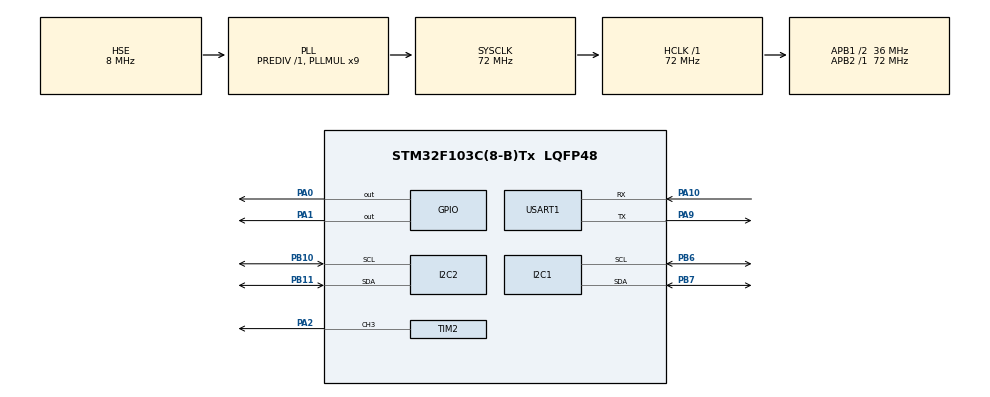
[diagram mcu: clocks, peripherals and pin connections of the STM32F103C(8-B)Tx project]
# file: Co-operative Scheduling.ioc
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FREERTOS.Mutexes01=uartMutex,Dynamic,NULL,Available
FREERTOS.Tasks01=task_sensor,8,128,StartSensorTask,Default,NULL,Dynamic,NULL,NULL;task_lcd,8,128,StartLCDTask,Default,NULL,Dynamic,NULL,NULL;task_uart,8,128,StartUARTTxTask,Default,NULL,Dynamic,NULL,NULL;RXTask,8,128,StartUARTRxTask,Default,NULL,Dynamic,NULL,NULL;MotorTask,8,128,StartMotorTask,Default,NULL,Dynamic,NULL,NULL
FREERTOS.configTOTAL_HEAP_SIZE=4096
FREERTOS.configUSE_PREEMPTION=0
I2C2.I2C_Mode=I2C_Fast
Mcu.Family=STM32F1
Mcu.Name=STM32F103C(8-B)Tx
Mcu.Package=LQFP48
NVIC.PriorityGroup=NVIC_PRIORITYGROUP_4
NVIC.USART1_IRQn=true\:5\:0\:false\:false\:true\:true\:true\:true\:true
PA0-WKUP.Signal=GPIO_Output
PA1.Signal=GPIO_Output
PA10.Mode=Asynchronous
PA10.Signal=USART1_RX
PA13.Mode=Serial_Wire
PA13.Signal=SYS_JTMS-SWDIO
PA14.Mode=Serial_Wire
PA14.Signal=SYS_JTCK-SWCLK
PA2.Signal=S_TIM2_CH3
PA9.Mode=Asynchronous
PA9.Signal=USART1_TX
PB10.Mode=I2C
PB10.Signal=I2C2_SCL
PB11.Mode=I2C
PB11.Signal=I2C2_SDA
PB6.Mode=I2C
PB6.Signal=I2C1_SCL
PB7.Mode=I2C
PB7.Signal=I2C1_SDA
PD0-OSC_IN.Mode=HSE-External-Oscillator
PD0-OSC_IN.Signal=RCC_OSC_IN
PD1-OSC_OUT.Mode=HSE-External-Oscillator
PD1-OSC_OUT.Signal=RCC_OSC_OUT
ProjectManager.HeapSize=0x200
ProjectManager.StackSize=0x400
ProjectManager.TargetToolchain=STM32CubeIDE
RCC.AHBFreq_Value=72000000
RCC.APB1CLKDivider=RCC_HCLK_DIV2
RCC.APB1Freq_Value=36000000
RCC.APB1TimFreq_Value=72000000
RCC.APB2Freq_Value=72000000
RCC.APB2TimFreq_Value=72000000
RCC.HCLKFreq_Value=72000000
RCC.PLLMUL=RCC_PLL_MUL9
RCC.PLLSourceVirtual=RCC_PLLSOURCE_HSE
RCC.SYSCLKFreq_VALUE=72000000
RCC.SYSCLKSource=RCC_SYSCLKSOURCE_PLLCLK
RCC.USBFreq_Value=72000000
SH.S_TIM2_CH3.0=TIM2_CH3,PWM Generation3 CH3
TIM2.Channel-PWM\ Generation3\ CH3=TIM_CHANNEL_3
TIM2.Period=100
TIM2.Prescaler=72-1
USART1.VirtualMode=VM_ASYNC
VP_FREERTOS_VS_CMSIS_V2.Mode=CMSIS_V2
board=custom

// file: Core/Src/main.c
/* USER CODE BEGIN Header */
/**
  ******************************************************************************
  * @file           : main.c
  * @brief          : Main program body
  ******************************************************************************
  * @attention
  *
  * Copyright (c) 2025 STMicroelectronics.
  * All rights reserved.
  *
  * This software is licensed under terms that can be found in the LICENSE file
  * in the root directory of this software component.
  * If no LICENSE file comes with this software, it is provided AS-IS.
  *
  ******************************************************************************
  */
/* USER CODE END Header */
#include "main.h"
#include "cmsis_os.h"

/* USER CODE BEGIN Includes */
#include "string.h"
#include "stdio.h"
#include "stdlib.h"
#include "i2c_lcd.h"
#include "aht10.h"
/* USER CODE END Includes */

I2C_HandleTypeDef hi2c1;
I2C_HandleTypeDef hi2c2;

TIM_HandleTypeDef htim2;

UART_HandleTypeDef huart1;

/* Definitions for task_sensor */
osThreadId_t task_sensorHandle;
const osThreadAttr_t task_sensor_attributes = {
  .name = "task_sensor",
  .stack_size = 128 * 4,
  .priority = (osPriority_t) osPriorityLow,
};
/* Definitions for task_lcd */
osThreadId_t task_lcdHandle;
const osThreadAttr_t task_lcd_attributes = {
  .name = "task_lcd",
  .stack_size = 128 * 4,
  .priority = (osPriority_t) osPriorityLow,
};
/* Definitions for task_uart */
osThreadId_t task_uartHandle;
const osThreadAttr_t task_uart_attributes = {
  .name = "task_uart",
  .stack_size = 128 * 4,
  .priority = (osPriority_t) osPriorityLow,
};
/* Definitions for RXTask */
osThreadId_t RXTaskHandle;
const osThreadAttr_t RXTask_attributes = {
  .name = "RXTask",
  .stack_size = 128 * 4,
  .priority = (osPriority_t) osPriorityLow,
};
/* Definitions for MotorTask */
osThreadId_t MotorTaskHandle;
const osThreadAttr_t MotorTask_attributes = {
  .name = "MotorTask",
  .stack_size = 128 * 4,
  .priority = (osPriority_t) osPriorityLow,
};
/* Definitions for uartMutex */
osMutexId_t uartMutexHandle;
const osMutexAttr_t uartMutex_attributes = {
  .name = "uartMutex"
};
/* USER CODE BEGIN PV */
AHT10_HandleTypeDef aht10;
I2C_LCD_HandleTypeDef lcd;

char debug[32];
char buffer[32];
float temperature, humidity;
uint32_t temp_raw = 0;
uint32_t hum_raw = 0;

//Biến dùng chung cho nhận UART
uint8_t rx_byte;
char command_buffer[64];
volatile uint8_t command_ready = 0;

//Biến toàn cục lưu trạng thái điều khiển
typedef enum { OFF = 0, ON = 1 } MotorPower;
typedef enum { CW = 0, CCW = 1 } MotorDirection;
typedef enum { DISPLAY_ALL, DISPLAY_TEMP, DISPLAY_HUMID } DisplayMode;

volatile MotorPower motor_power = OFF;
volatile MotorDirection motor_dir = CW;
volatile uint8_t motor_speed = 0;
volatile DisplayMode display_mode = DISPLAY_ALL;

/* USER CODE END PV */

void SystemClock_Config(void);
static void MX_GPIO_Init(void);
static void MX_I2C1_Init(void);
static void MX_I2C2_Init(void);
static void MX_TIM2_Init(void);
static void MX_USART1_UART_Init(void);
void StartSensorTask(void *argument);
void StartLCDTask(void *argument);
void StartUARTTxTask(void *argument);
void StartUARTRxTask(void *argument);
void StartMotorTask(void *argument);

int main(void)
{

  /* MCU Configuration--------------------------------------------------------*/

  /* Reset of all peripherals, Initializes the Flash interface and the Systick. */
  HAL_Init();

  /* Configure the system clock */
  SystemClock_Config();

  /* Initialize all configured peripherals */
  MX_GPIO_Init();
  MX_I2C1_Init();
  MX_I2C2_Init();
  MX_TIM2_Init();
  MX_USART1_UART_Init();
  /* USER CODE BEGIN 2 */

  	 //Khởi tạo uart nhận 1 byte
	HAL_UART_Receive_IT(&huart1, &rx_byte, 1);

	//Khởi tạo timmer2 CH3
	HAL_TIM_PWM_Start(&htim2, TIM_CHANNEL_3);

	//Init LCD
	lcd.hi2c = &hi2c1;
	lcd.address = 0x4E;
	lcd_init(&lcd);
	lcd_clear(&lcd);

	//Init AHT10
	aht10.hi2c = &hi2c2;
	aht10.address = 0x38 << 1; //AHT10 default address << 1 = 0x38 << 1 = 0x70
	AHT10_Init(&aht10);
	HAL_Delay(50);

  /* USER CODE END 2 */

  /* Init scheduler */
  osKernelInitialize();
  /* Create the mutex(es) */
  /* creation of uartMutex */
  uartMutexHandle = osMutexNew(&uartMutex_attributes);

  /* Create the thread(s) */
  /* creation of task_sensor */
  task_sensorHandle = osThreadNew(StartSensorTask, NULL, &task_sensor_attributes);

  /* creation of task_lcd */
  task_lcdHandle = osThreadNew(StartLCDTask, NULL, &task_lcd_attributes);

  /* creation of task_uart */
  task_uartHandle = osThreadNew(StartUARTTxTask, NULL, &task_uart_attributes);

  /* creation of RXTask */
  RXTaskHandle = osThreadNew(StartUARTRxTask, NULL, &RXTask_attributes);

  /* creation of MotorTask */
  MotorTaskHandle = osThreadNew(StartMotorTask, NULL, &MotorTask_attributes);

  /* Start scheduler */
  osKernelStart();

  /* We should never get here as control is now taken by the scheduler */

  /* Infinite loop */
  while (1)
  {

  }
}

void SystemClock_Config(void)
{
  RCC_OscInitTypeDef RCC_OscInitStruct = {0};
  RCC_ClkInitTypeDef RCC_ClkInitStruct = {0};

  /** Initializes the RCC Oscillators according to the specified parameters
  * in the RCC_OscInitTypeDef structure.
  */
  RCC_OscInitStruct.OscillatorType = RCC_OSCILLATORTYPE_HSE;
  RCC_OscInitStruct.HSEState = RCC_HSE_ON;
  RCC_OscInitStruct.HSEPredivValue = RCC_HSE_PREDIV_DIV1;
  RCC_OscInitStruct.HSIState = RCC_HSI_ON;
  RCC_OscInitStruct.PLL.PLLState = RCC_PLL_ON;
  RCC_OscInitStruct.PLL.PLLSource = RCC_PLLSOURCE_HSE;
  RCC_OscInitStruct.PLL.PLLMUL = RCC_PLL_MUL9;
  if (HAL_RCC_OscConfig(&RCC_OscInitStruct) != HAL_OK)
  {
    Error_Handler();
  }

  /** Initializes the CPU, AHB and APB buses clocks
  */
  RCC_ClkInitStruct.ClockType = RCC_CLOCKTYPE_HCLK|RCC_CLOCKTYPE_SYSCLK
                              |RCC_CLOCKTYPE_PCLK1|RCC_CLOCKTYPE_PCLK2;
  RCC_ClkInitStruct.SYSCLKSource = RCC_SYSCLKSOURCE_PLLCLK;
  RCC_ClkInitStruct.AHBCLKDivider = RCC_SYSCLK_DIV1;
  RCC_ClkInitStruct.APB1CLKDivider = RCC_HCLK_DIV2;
  RCC_ClkInitStruct.APB2CLKDivider = RCC_HCLK_DIV1;

  if (HAL_RCC_ClockConfig(&RCC_ClkInitStruct, FLASH_LATENCY_2) != HAL_OK)
  {
    Error_Handler();
  }
}

static void MX_I2C1_Init(void)
{

  hi2c1.Instance = I2C1;
  hi2c1.Init.ClockSpeed = 100000;
  hi2c1.Init.DutyCycle = I2C_DUTYCYCLE_2;
  hi2c1.Init.OwnAddress1 = 0;
  hi2c1.Init.AddressingMode = I2C_ADDRESSINGMODE_7BIT;
  hi2c1.Init.DualAddressMode = I2C_DUALADDRESS_DISABLE;
  hi2c1.Init.OwnAddress2 = 0;
  hi2c1.Init.GeneralCallMode = I2C_GENERALCALL_DISABLE;
  hi2c1.Init.NoStretchMode = I2C_NOSTRETCH_DISABLE;
  if (HAL_I2C_Init(&hi2c1) != HAL_OK)
  {
    Error_Handler();
  }

}

static void MX_I2C2_Init(void)
{

  hi2c2.Instance = I2C2;
  hi2c2.Init.ClockSpeed = 400000;
  hi2c2.Init.DutyCycle = I2C_DUTYCYCLE_2;
  hi2c2.Init.OwnAddress1 = 0;
  hi2c2.Init.AddressingMode = I2C_ADDRESSINGMODE_7BIT;
  hi2c2.Init.DualAddressMode = I2C_DUALADDRESS_DISABLE;
  hi2c2.Init.OwnAddress2 = 0;
  hi2c2.Init.GeneralCallMode = I2C_GENERALCALL_DISABLE;
  hi2c2.Init.NoStretchMode = I2C_NOSTRETCH_DISABLE;
  if (HAL_I2C_Init(&hi2c2) != HAL_OK)
  {
    Error_Handler();
  }

}

static void MX_TIM2_Init(void)
{

  TIM_MasterConfigTypeDef sMasterConfig = {0};
  TIM_OC_InitTypeDef sConfigOC = {0};

  htim2.Instance = TIM2;
  htim2.Init.Prescaler = 72-1;
  htim2.Init.CounterMode = TIM_COUNTERMODE_UP;
  htim2.Init.Period = 100;
  htim2.Init.ClockDivision = TIM_CLOCKDIVISION_DIV1;
  htim2.Init.AutoReloadPreload = TIM_AUTORELOAD_PRELOAD_DISABLE;
  if (HAL_TIM_PWM_Init(&htim2) != HAL_OK)
  {
    Error_Handler();
  }
  sMasterConfig.MasterOutputTrigger = TIM_TRGO_RESET;
  sMasterConfig.MasterSlaveMode = TIM_MASTERSLAVEMODE_DISABLE;
  if (HAL_TIMEx_MasterConfigSynchronization(&htim2, &sMasterConfig) != HAL_OK)
  {
    Error_Handler();
  }
  sConfigOC.OCMode = TIM_OCMODE_PWM1;
  sConfigOC.Pulse = 0;
  sConfigOC.OCPolarity = TIM_OCPOLARITY_HIGH;
  sConfigOC.OCFastMode = TIM_OCFAST_DISABLE;
  if (HAL_TIM_PWM_ConfigChannel(&htim2, &sConfigOC, TIM_CHANNEL_3) != HAL_OK)
  {
    Error_Handler();
  }
  HAL_TIM_MspPostInit(&htim2);

}

static void MX_USART1_UART_Init(void)
{

  huart1.Instance = USART1;
  huart1.Init.BaudRate = 115200;
  huart1.Init.WordLength = UART_WORDLENGTH_8B;
  huart1.Init.StopBits = UART_STOPBITS_1;
  huart1.Init.Parity = UART_PARITY_NONE;
  huart1.Init.Mode = UART_MODE_TX_RX;
  huart1.Init.HwFlowCtl = UART_HWCONTROL_NONE;
  huart1.Init.OverSampling = UART_OVERSAMPLING_16;
  if (HAL_UART_Init(&huart1) != HAL_OK)
  {
    Error_Handler();
  }

}

static void MX_GPIO_Init(void)
{
  GPIO_InitTypeDef GPIO_InitStruct = {0};

  /* GPIO Ports Clock Enable */
  __HAL_RCC_GPIOD_CLK_ENABLE();
  __HAL_RCC_GPIOA_CLK_ENABLE();
  __HAL_RCC_GPIOB_CLK_ENABLE();

  /*Configure GPIO pin Output Level */
  HAL_GPIO_WritePin(GPIOA, GPIO_PIN_0|GPIO_PIN_1, GPIO_PIN_RESET);

  /*Configure GPIO pins : PA0 PA1 */
  GPIO_InitStruct.Pin = GPIO_PIN_0|GPIO_PIN_1;
  GPIO_InitStruct.Mode = GPIO_MODE_OUTPUT_PP;
  GPIO_InitStruct.Pull = GPIO_NOPULL;
  GPIO_InitStruct.Speed = GPIO_SPEED_FREQ_LOW;
  HAL_GPIO_Init(GPIOA, &GPIO_InitStruct);

}

/* USER CODE BEGIN 4 */
void HAL_UART_RxCpltCallback(UART_HandleTypeDef *huart) {
	static uint8_t idx = 0;
	if (huart->Instance == USART1) {
		if (rx_byte != '\n' && idx < sizeof(command_buffer) - 1) {
			command_buffer[idx++] = rx_byte;
		} else {
			command_buffer[idx] = '\0'; // kết thúc chuỗi
			idx = 0;
			command_ready = 1;
		}

		// Bắt đầu nhận byte tiếp theo
		HAL_UART_Receive_IT(&huart1, &rx_byte, 1);
	}
}
/* USER CODE END 4 */

void StartSensorTask(void *argument)
{
  /* USER CODE BEGIN 5 */
	TickType_t LastWakeTime = osKernelGetTickCount();
	/* Infinite loop */
	for (;;) {
		if (AHT10_ReadRaw(&aht10, &hum_raw, &temp_raw)) {
			float temp = AHT10_ReadTemperature(temp_raw);
			float hum = AHT10_ReadHumidity(hum_raw);

			temperature = temp;
			humidity = hum;
		}
		osDelayUntil(LastWakeTime + pdMS_TO_TICKS(2000));
		LastWakeTime = osKernelGetTickCount();
		taskYIELD();
	}
  /* USER CODE END 5 */
}

void StartLCDTask(void *argument)
{
  /* USER CODE BEGIN StartLCDTask */
	char lcd_buf[32];
	TickType_t LastWakeTime = osKernelGetTickCount();
	/* Infinite loop */
	for (;;) {
			int ti = (int)temperature;
			int tf = (int)((temperature - ti) * 10);
			int hi = (int)humidity;
			int hf = (int)((humidity - hi) * 10);

			switch (display_mode) {
			case DISPLAY_ALL:
				sprintf(lcd_buf, "Temp: %d.%d C", ti, tf);
				lcd_gotoxy(&lcd, 0, 0);
				lcd_puts(&lcd, lcd_buf);

				sprintf(lcd_buf, "Hum:  %d.%d %%", hi, hf);
				lcd_gotoxy(&lcd, 0, 1);
				lcd_puts(&lcd, lcd_buf);
				break;

			case DISPLAY_TEMP:
				sprintf(lcd_buf, "Temp: %d.%d C", ti, tf);
				lcd_gotoxy(&lcd, 0, 0);
				lcd_puts(&lcd, lcd_buf);

				lcd_gotoxy(&lcd, 0, 1);
				lcd_puts(&lcd, "                "); // Clear dòng 2
				break;

			case DISPLAY_HUMID:
				sprintf(lcd_buf, "Hum:  %d.%d %%", hi, hf);
				lcd_gotoxy(&lcd, 0, 0);
				lcd_puts(&lcd, lcd_buf);

				lcd_gotoxy(&lcd, 0, 1);
				lcd_puts(&lcd, "                "); // Clear dòng 2
				break;
			}

		osDelayUntil(LastWakeTime + pdMS_TO_TICKS(500));
		LastWakeTime = osKernelGetTickCount();
		taskYIELD();
	}
  /* USER CODE END StartLCDTask */
}

void StartUARTTxTask(void *argument)
{
  /* USER CODE BEGIN StartUARTTxTask */
	char uart_buf[64];
	TickType_t LastWakeTime = osKernelGetTickCount();
	/* Infinite loop */
	for (;;) {
		float temp = temperature;
		float hum = humidity;

		int temp_int = (int) temp;
		int temp_frac = (int) ((temp - temp_int) * 10);
		int hum_int = (int) hum;
		int hum_frac = (int) ((hum - hum_int) * 10);

		sprintf(uart_buf, "temperature: %d.%d C, humidity: %d.%d %%\r\n",
				temp_int, temp_frac, hum_int, hum_frac);

		HAL_UART_Transmit(&huart1, (uint8_t*) uart_buf, strlen(uart_buf), 100);

		osDelayUntil(LastWakeTime + pdMS_TO_TICKS(5000));
		LastWakeTime = osKernelGetTickCount();
		taskYIELD();
	}
  /* USER CODE END StartUARTTxTask */
}

void StartUARTRxTask(void *argument)
{
  /* USER CODE BEGIN StartUARTRxTask */
//	TickType_t LastWakeTime = osKernelGetTickCount();
	/* Infinite loop */
	for (;;) {
		if (command_ready) {
			command_ready = 0;

			osMutexAcquire(uartMutexHandle, osWaitForever);

			// Hiển thị lệnh nhận được
			HAL_UART_Transmit(&huart1, (uint8_t*) "Cmd: ", 5, HAL_MAX_DELAY);
			HAL_UART_Transmit(&huart1, (uint8_t*) command_buffer,
					strlen(command_buffer), HAL_MAX_DELAY);
			HAL_UART_Transmit(&huart1, (uint8_t*) "\r\n", 2, HAL_MAX_DELAY);

			// Xử lý lệnh
			if (strncmp(command_buffer, "!motor ", 7) == 0) {
				if (strstr(command_buffer, "on"))
					motor_power = ON;
				else if (strstr(command_buffer, "off"))
					motor_power = OFF;

			} else if (strncmp(command_buffer, "!rotate ", 8) == 0) {
				if (strstr(command_buffer, "ccw"))
					motor_dir = CCW;
				else if (strstr(command_buffer, "cw"))
					motor_dir = CW;

			} else if (strncmp(command_buffer, "!speed ", 7) == 0) {
				int val = atoi(&command_buffer[7]);
				if (val >= 0 && val <= 100)
					motor_speed = val;

			} else if (strncmp(command_buffer, "!display ", 9) == 0) {
				if (strstr(command_buffer, "all"))
					display_mode = DISPLAY_ALL;
				else if (strstr(command_buffer, "temp"))
					display_mode = DISPLAY_TEMP;
				else if (strstr(command_buffer, "humid"))
					display_mode = DISPLAY_HUMID;
			}

			// Phản hồi trạng thái hiện tại
			char debug_msg[64];
			sprintf(debug_msg, "Motor: %s, Dir: %s, Speed: %d, Display: %s\r\n",
					(motor_power == ON) ? "ON" : "OFF",
					(motor_dir == CW) ? "CW" : "CCW", motor_speed,
					(display_mode == DISPLAY_ALL) ? "ALL" :
					(display_mode == DISPLAY_TEMP) ? "TEMP" : "HUMID");

			HAL_UART_Transmit(&huart1, (uint8_t*) debug_msg, strlen(debug_msg),
			HAL_MAX_DELAY);

			// Xóa buffer cũ
			memset(command_buffer, 0, sizeof(command_buffer));

			osMutexRelease(uartMutexHandle);
		}
//		osDelayUntil(LastWakeTime + pdMS_TO_TICKS(50));
//		LastWakeTime = osKernelGetTickCount();
		taskYIELD();
	}
  /* USER CODE END StartUARTRxTask */
}

void StartMotorTask(void *argument)
{
  /* USER CODE BEGIN StartMotorTask */
	/* Infinite loop */
	for (;;) {
		if (motor_power == ON) {
			// Điều chỉnh chiều quay
			if (motor_dir == CW) {
				HAL_GPIO_WritePin(GPIOA, GPIO_PIN_0, GPIO_PIN_SET);   // IN1
				HAL_GPIO_WritePin(GPIOA, GPIO_PIN_1, GPIO_PIN_RESET); // IN2
			} else {
				HAL_GPIO_WritePin(GPIOA, GPIO_PIN_0, GPIO_PIN_RESET);
				HAL_GPIO_WritePin(GPIOA, GPIO_PIN_1, GPIO_PIN_SET);
			}

			// Điều chỉnh tốc độ
			__HAL_TIM_SET_COMPARE(&htim2, TIM_CHANNEL_3, motor_speed);
		} else {
			// Tắt động cơ
			__HAL_TIM_SET_COMPARE(&htim2, TIM_CHANNEL_3, 0);
		}

//		osDelay(100);  // Cập nhật mỗi 100ms
		taskYIELD();
	}
  /* USER CODE END StartMotorTask */
}

void Error_Handler(void)
{
  __disable_irq();
  while (1)
  {
  }
}
